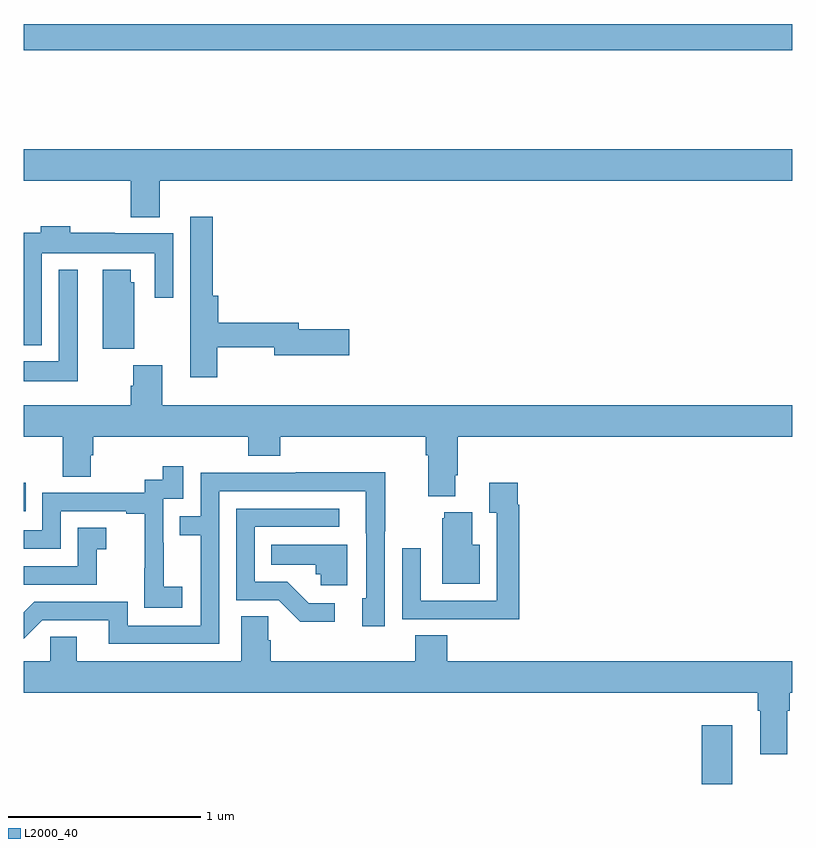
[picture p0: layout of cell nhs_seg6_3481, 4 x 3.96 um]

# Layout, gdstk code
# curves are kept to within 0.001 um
import gdstk
lib = gdstk.Library(unit=1e-6, precision=1e-09)
def R(c, l, rs):  # rectangles x0, y0, x1, y1
    for r in rs: c.add(gdstk.rectangle(r[:2], r[2:], *l))
def P(c, l, *ps):  # polygons
    for p in ps: c.add(gdstk.Polygon(p, *l))
L2000_40 = (2000, 40)

nhs_seg6_3481 = lib.new_cell('nhs_seg6_3481')
R(nhs_seg6_3481, L2000_40, [(318.53,973.5,318.688,973.807), (315,974.919,315.011,975.067), (315,977.32,319,977.456)])
P(nhs_seg6_3481, L2000_40, [(315.709,976.64),(319,976.64),(319,976.804),(315,976.804),(315,976.64),(315.557,976.64),(315.557,976.451),(315.709,976.451)],
  [(316.008,975.774),(316.304,975.774),(316.304,975.731),(316.693,975.731),(316.693,975.866),(316.432,975.866),(316.432,975.902),(316.013,975.902),(316.013,976.042),(315.983,976.042),(315.983,976.453),(315.867,976.453),(315.867,975.879),(315.866,975.879),(315.866,975.618),(316.008,975.618)],
  [(315.093,976.262),(315.681,976.262),(315.681,976.032),(315.777,976.032),(315.777,976.366),(315.473,976.366),(315.473,976.369),(315.242,976.369),(315.242,976.402),(315.089,976.402),(315.089,976.369),(315,976.369),(315,975.785),(315.093,975.785)],
  [(315.28,976.177),(315.183,976.177),(315.183,975.7),(315,975.7),(315,975.596),(315.28,975.596)],
  [(315.574,976.113),(315.556,976.113),(315.556,976.177),(315.41,976.177),(315.41,975.766),(315.574,975.766)],
  [(317.245,975.106),(317.258,975.106),(317.258,975.308),(319,975.308),(319,975.472),(315.722,975.472),(315.722,975.681),(315.569,975.681),(315.569,975.572),(315.557,975.572),(315.557,975.472),(315,975.472),(315,975.308),(315.202,975.308),(315.202,975.1),(315.349,975.1),(315.349,975.21),(315.362,975.21),(315.362,975.308),(316.169,975.308),(316.169,975.209),(316.334,975.209),(316.334,975.308),(317.093,975.308),(317.093,975.212),(317.105,975.212),(317.105,974.999),(317.245,974.999)],
  [(315.826,974.527),(315.728,974.527),(315.728,974.756),(315.726,974.756),(315.726,974.985),(315.831,974.985),(315.831,975.154),(315.723,975.154),(315.723,975.084),(315.63,975.084),(315.63,975.015),(315.096,975.015),(315.096,974.82),(315,974.82),(315,974.724),(315.192,974.724),(315.192,974.919),(315.533,974.919),(315.533,974.907),(315.629,974.907),(315.629,974.623),(315.628,974.623),(315.628,974.417),(315.826,974.417)],
  [(316.017,975.024),(316.781,975.024),(316.782,974.466),(316.763,974.466),(316.763,974.322),(316.878,974.322),(316.878,974.815),(316.881,974.815),(316.881,975.122),(316.417,975.122),(316.417,975.12),(315.921,975.12),(315.921,974.895),(315.811,974.895),(315.811,974.794),(315.921,974.794),(315.921,974.325),(315.54,974.325),(315.54,974.448),(315.054,974.448),(315,974.394),(315,974.256),(315.096,974.352),(315.443,974.352),(315.443,974.229),(316.017,974.229)],
  [(317.579,974.954),(317.572,974.954),(317.572,975.067),(317.423,975.067),(317.423,974.911),(317.463,974.911),(317.463,974.454),(317.067,974.454),(317.067,974.728),(316.971,974.728),(316.971,974.358),(317.287,974.358),(317.287,974.357),(317.579,974.357)],
  [(316.618,974.442),(316.483,974.442),(316.372,974.553),(316.203,974.553),(316.203,974.838),(316.642,974.838),(316.642,974.934),(316.107,974.934),(316.107,974.457),(316.326,974.457),(316.439,974.345),(316.618,974.345)],
  [(317.374,974.746),(317.335,974.746),(317.335,974.914),(317.189,974.914),(317.189,974.883),(317.177,974.883),(317.177,974.543),(317.374,974.543)],
  [(315.381,974.723),(315.43,974.723),(315.43,974.833),(315.282,974.833),(315.282,974.634),(315,974.634),(315,974.538),(315.381,974.538)],
  [(316.684,974.746),(316.288,974.746),(316.288,974.642),(316.519,974.642),(316.519,974.592),(316.545,974.592),(316.545,974.534),(316.684,974.534)],
  [(318.821,973.88),(318.833,973.88),(318.833,973.656),(318.973,973.656),(318.973,973.88),(318.986,973.88),(318.986,973.976),(319,973.976),(319,974.14),(317.204,974.14),(317.204,974.273),(317.039,974.273),(317.039,974.14),(316.286,974.14),(316.286,974.249),(316.272,974.249),(316.272,974.372),(316.133,974.372),(316.133,974.14),(315.277,974.14),(315.277,974.267),(315.138,974.267),(315.138,974.14),(315,974.14),(315,973.976),(318.821,973.976)])

lib.write_gds('nhs_seg6_3481.gds')
